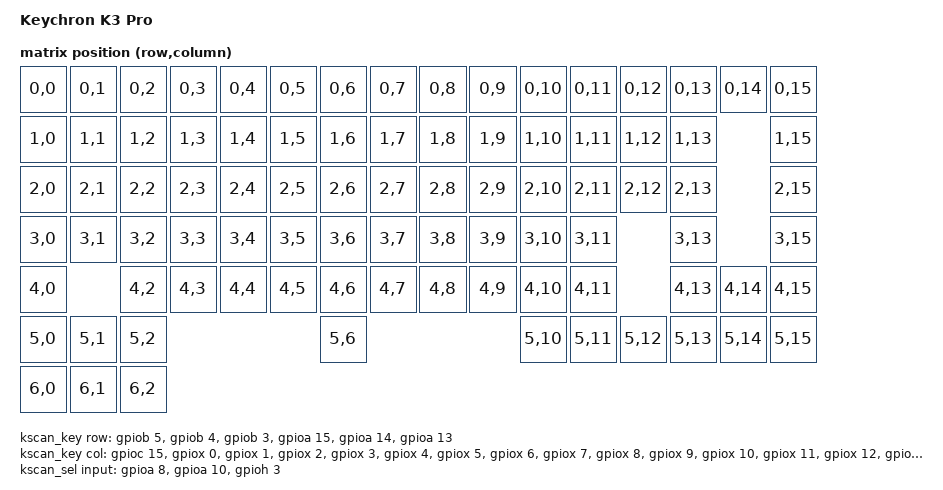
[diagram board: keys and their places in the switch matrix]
/*
 * Copyright (c) 2023 XiNGRZ
 * SPDX-License-Identifier: MIT
 */

/dts-v1/;
#include <freq.h>
#include <mem.h>
#include <st/l4/stm32l432.dtsi>
#include <st/l4/stm32l432k(b-c)ux-pinctrl.dtsi>
#include <dt-bindings/zmk/matrix_transform.h>
#include <dt-bindings/zmk/ckled2001.h>

/ {
	model = "Keychron K3 Pro";
	compatible = "keychron,k3_pro";

	chosen {
		zephyr,code-partition = &code_partition;
		zephyr,sram = &sram0;
		zephyr,flash = &flash0;
		zephyr,console = &cdc_acm_uart;
		zmk,kscan = &kscan;
		zmk,matrix_transform = &default_transform;
		zmk,underglow = &led_strip;
	};

	kscan_key: kscan-matrix {
		compatible = "zmk,kscan-gpio-matrix";

		diode-direction = "col2row";
		col-gpios = <&gpioc 15 (GPIO_ACTIVE_LOW)>,
		            <&gpiox  0 (GPIO_ACTIVE_LOW)>,
		            <&gpiox  1 (GPIO_ACTIVE_LOW)>,
		            <&gpiox  2 (GPIO_ACTIVE_LOW)>,
		            <&gpiox  3 (GPIO_ACTIVE_LOW)>,
		            <&gpiox  4 (GPIO_ACTIVE_LOW)>,
		            <&gpiox  5 (GPIO_ACTIVE_LOW)>,
		            <&gpiox  6 (GPIO_ACTIVE_LOW)>,
		            <&gpiox  7 (GPIO_ACTIVE_LOW)>,
		            <&gpiox  8 (GPIO_ACTIVE_LOW)>,
		            <&gpiox  9 (GPIO_ACTIVE_LOW)>,
		            <&gpiox 10 (GPIO_ACTIVE_LOW)>,
		            <&gpiox 11 (GPIO_ACTIVE_LOW)>,
		            <&gpiox 12 (GPIO_ACTIVE_LOW)>,
		            <&gpiox 13 (GPIO_ACTIVE_LOW)>,
		            <&gpiox 14 (GPIO_ACTIVE_LOW)>;
		row-gpios = <&gpiob  5 (GPIO_ACTIVE_LOW | GPIO_PULL_UP)>,
		            <&gpiob  4 (GPIO_ACTIVE_LOW | GPIO_PULL_UP)>,
		            <&gpiob  3 (GPIO_ACTIVE_LOW | GPIO_PULL_UP)>,
		            <&gpioa 15 (GPIO_ACTIVE_LOW | GPIO_PULL_UP)>,
		            <&gpioa 14 (GPIO_ACTIVE_LOW | GPIO_PULL_UP)>,
		            <&gpioa 13 (GPIO_ACTIVE_LOW | GPIO_PULL_UP)>;
	};

	kscan_sel: kscan-direct {
		compatible = "zmk,kscan-gpio-direct";

		input-gpios = <&gpioa  8 (GPIO_ACTIVE_HIGH | GPIO_PULL_UP)>,  /* MAC_SEL */
		              <&gpioa 10 (GPIO_ACTIVE_LOW)>,                  /* BT_SEL */
		              <&gpioh  3 (GPIO_ACTIVE_HIGH)>;                 /* RESET */

		debounce-scan-period-ms = <10>;
		poll-period-ms = <10>;
	};

	kscan: kscan-composite {
		compatible = "zmk,kscan-composite";

		rows = <7>;
		columns = <16>;

		kscan-key {
			kscan = <&kscan_key>;
		};

		kscan-sel {
			kscan = <&kscan_sel>;
			row-offset = <6>;
		};
	};

	default_transform: keymap_transform {
		compatible = "zmk,matrix-transform";
		columns = <16>;
		rows = <7>;
		map = <
			RC(0,0) RC(0,1) RC(0,2) RC(0,3) RC(0,4) RC(0,5) RC(0,6) RC(0,7) RC(0,8) RC(0,9) RC(0,10) RC(0,11) RC(0,12) RC(0,13) RC(0,14) RC(0,15)
			RC(1,0) RC(1,1) RC(1,2) RC(1,3) RC(1,4) RC(1,5) RC(1,6) RC(1,7) RC(1,8) RC(1,9) RC(1,10) RC(1,11) RC(1,12) RC(1,13)          RC(1,15)
			RC(2,0) RC(2,1) RC(2,2) RC(2,3) RC(2,4) RC(2,5) RC(2,6) RC(2,7) RC(2,8) RC(2,9) RC(2,10) RC(2,11) RC(2,12) RC(2,13)          RC(2,15)
			RC(3,0) RC(3,1) RC(3,2) RC(3,3) RC(3,4) RC(3,5) RC(3,6) RC(3,7) RC(3,8) RC(3,9) RC(3,10) RC(3,11)          RC(3,13)          RC(3,15)
			RC(4,0)         RC(4,2) RC(4,3) RC(4,4) RC(4,5) RC(4,6) RC(4,7) RC(4,8) RC(4,9) RC(4,10) RC(4,11)          RC(4,13) RC(4,14) RC(4,15)
			RC(5,0) RC(5,1) RC(5,2)                         RC(5,6)                         RC(5,10) RC(5,11) RC(5,12) RC(5,13) RC(5,14) RC(5,15)
			RC(6,0) RC(6,1) RC(6,2)
		>;
	};

	led_strip: led-strip-composite {
		compatible = "zmk,led-strip-composite";

		chain-length = <84>;

		strip-0 {
			led-strip = <&led_strip_0>;
		};

		strip-1 {
			led-strip = <&led_strip_1>;
		};
	};
};

&clk_hsi {
	status = "okay";
};

&pll {
	div-m = <1>;
	mul-n = <10>;
	div-p = <7>;
	div-q = <2>;
	div-r = <2>;
	clocks = <&clk_hsi>;
	status = "okay";
};

&rcc {
	clocks = <&pll>;
	clock-frequency = <DT_FREQ_M(80)>;
	ahb-prescaler = <1>;
	apb1-prescaler = <1>;
	apb2-prescaler = <1>;
};

&sram0 {
	reg = <0x20000000 DT_SIZE_K(48)>;
};

&flash0 {
	reg = <0x8000000 DT_SIZE_K(128)>;

	partitions {
		compatible = "fixed-partitions";
		#address-cells = <1>;
		#size-cells = <1>;

		code_partition: partition@0 {
			label = "code_partition";
			reg = <0x00000000 DT_SIZE_K(124)>;
		};

		storage_partition: partition@1f000 {
			label = "storage";
			reg = <0x0001f000 DT_SIZE_K(4)>;
		};
	};
};

&usb {
	pinctrl-0 = <&usb_dm_pa11 &usb_dp_pa12>;
	pinctrl-names = "default";
	status = "okay";

	cdc_acm_uart: cdc-acm-uart {
		compatible = "zephyr,cdc-acm-uart";
		label = "CDC_ACM_0";
	};
};

&spi1 {
	pinctrl-0 = <&spi1_sck_pa1 &spi1_mosi_pa7>;
	pinctrl-names = "default";
	status = "okay";

	cs-gpios = <&gpiob 0 GPIO_ACTIVE_LOW>;

	gpiox: sn74hc595@0 {
		compatible = "zmk,gpio-595";

		reg = <0>;
		spi-max-frequency = <DT_FREQ_K(500)>;

		gpio-controller;
		#gpio-cells = <2>;
		ngpios = <16>;
	};
};

&i2c1 {
	pinctrl-0 = <&i2c1_scl_pb6 &i2c1_sda_pb7>;
	pinctrl-names = "default";
	status = "okay";

	clock-frequency = <DT_FREQ_K(400)>;

	led_strip_0: ckled2001@77 {
		compatible = "keychron,ckled2001";

		reg = <0x77>;
		chain-length = <46>;
		#led-strip-cells = <0>;

		init-delay-us = <1000>;

		map = <
			/* ROW 0 */
			/* R        G        B */
			CK(8, 0) CK(6, 0) CK(7, 0)
			CK(8, 1) CK(6, 1) CK(7, 1)
			CK(8, 2) CK(6, 2) CK(7, 2)
			CK(8, 3) CK(6, 3) CK(7, 3)
			CK(8, 4) CK(6, 4) CK(7, 4)
			CK(8, 5) CK(6, 5) CK(7, 5)
			CK(8, 6) CK(6, 6) CK(7, 6)
			CK(8, 7) CK(6, 7) CK(7, 7)
			CK(8, 8) CK(6, 8) CK(7, 8)
			CK(8, 9) CK(6, 9) CK(7, 9)
			CK(8,10) CK(6,10) CK(7,10)
			CK(8,11) CK(6,11) CK(7,11)
			CK(8,12) CK(6,12) CK(7,12)
			CK(8,13) CK(6,13) CK(7,13)
			CK(8,14) CK(6,14) CK(7,14)
			CK(8,15) CK(6,15) CK(7,15)
			/* ROW 1 */
			/* R        G        B */
			CK(5, 0) CK(3, 0) CK(4, 0)
			CK(5, 1) CK(3, 1) CK(4, 1)
			CK(5, 2) CK(3, 2) CK(4, 2)
			CK(5, 3) CK(3, 3) CK(4, 3)
			CK(5, 4) CK(3, 4) CK(4, 4)
			CK(5, 5) CK(3, 5) CK(4, 5)
			CK(5, 6) CK(3, 6) CK(4, 6)
			CK(5, 7) CK(3, 7) CK(4, 7)
			CK(5, 8) CK(3, 8) CK(4, 8)
			CK(5, 9) CK(3, 9) CK(4, 9)
			CK(5,10) CK(3,10) CK(4,10)
			CK(5,11) CK(3,11) CK(4,11)
			CK(5,12) CK(3,12) CK(4,12)
			CK(5,13) CK(3,13) CK(4,13)
			CK(5,15) CK(3,15) CK(4,15)
			/* ROW 2 */
			/* R        G        B */
			CK(0, 0) CK(2, 0) CK(1, 0)
			CK(0, 1) CK(2, 1) CK(1, 1)
			CK(0, 2) CK(2, 2) CK(1, 2)
			CK(0, 3) CK(2, 3) CK(1, 3)
			CK(0, 4) CK(2, 4) CK(1, 4)
			CK(0, 5) CK(2, 5) CK(1, 5)
			CK(0, 6) CK(2, 6) CK(1, 6)
			CK(0, 7) CK(2, 7) CK(1, 7)
			CK(0, 8) CK(2, 8) CK(1, 8)
			CK(0, 9) CK(2, 9) CK(1, 9)
			CK(0,10) CK(2,10) CK(1,10)
			CK(0,11) CK(2,11) CK(1,11)
			CK(0,12) CK(2,12) CK(1,12)
			CK(0,13) CK(2,13) CK(1,13)
			CK(0,15) CK(2,15) CK(1,15)
		>;
	};

	led_strip_1: ckled2001@74 {
		compatible = "keychron,ckled2001";

		reg = <0x74>;
		chain-length = <38>;
		#led-strip-cells = <0>;

		init-delay-us = <1000>;

		map = <
			/* ROW 3 */
			/* R        G        B */
			CK(8, 0) CK(6, 0) CK(7, 0)
			CK(8, 1) CK(6, 1) CK(7, 1)
			CK(8, 2) CK(6, 2) CK(7, 2)
			CK(8, 3) CK(6, 3) CK(7, 3)
			CK(8, 4) CK(6, 4) CK(7, 4)
			CK(8, 5) CK(6, 5) CK(7, 5)
			CK(8, 6) CK(6, 6) CK(7, 6)
			CK(8, 7) CK(6, 7) CK(7, 7)
			CK(8, 8) CK(6, 8) CK(7, 8)
			CK(8, 9) CK(6, 9) CK(7, 9)
			CK(8,10) CK(6,10) CK(7,10)
			CK(8,11) CK(6,11) CK(7,11)
			CK(8,13) CK(6,13) CK(7,13)
			CK(8,15) CK(6,15) CK(7,15)
			/* ROW 4 */
			/* R        G        B */
			CK(2, 0) CK(0, 0) CK(1, 0)
			CK(2, 2) CK(0, 2) CK(1, 2)
			CK(2, 3) CK(0, 3) CK(1, 3)
			CK(2, 4) CK(0, 4) CK(1, 4)
			CK(2, 5) CK(0, 5) CK(1, 5)
			CK(2, 6) CK(0, 6) CK(1, 6)
			CK(2, 7) CK(0, 7) CK(1, 7)
			CK(2, 8) CK(0, 8) CK(1, 8)
			CK(2, 9) CK(0, 9) CK(1, 9)
			CK(2,10) CK(0,10) CK(1,10)
			CK(2,11) CK(0,11) CK(1,11)
			CK(2,13) CK(0,13) CK(1,13)
			CK(2,14) CK(0,14) CK(1,14)
			CK(2,15) CK(0,15) CK(1,15)
			/* ROW 5 */
			/* R        G        B */
			CK(5, 0) CK(3, 0) CK(4, 0)
			CK(5, 1) CK(3, 1) CK(4, 1)
			CK(5, 2) CK(3, 2) CK(4, 2)
			CK(5, 6) CK(3, 6) CK(4, 6)
			CK(5,10) CK(3,10) CK(4,10)
			CK(5,11) CK(3,11) CK(4,11)
			CK(5,12) CK(3,12) CK(4,12)
			CK(5,13) CK(3,13) CK(4,13)
			CK(5,14) CK(3,14) CK(4,14)
			CK(5,15) CK(3,15) CK(4,15)
		>;
	};
};
